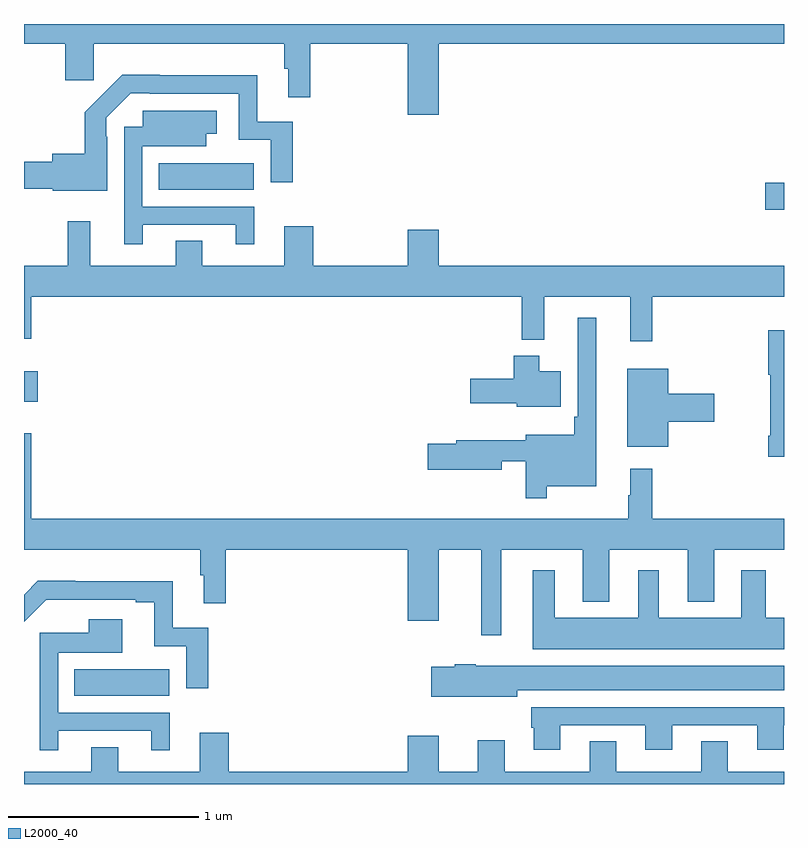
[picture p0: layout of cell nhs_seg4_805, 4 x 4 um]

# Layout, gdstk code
import gdstk
lib = gdstk.Library(unit=1e-6, precision=1e-09)
def R(c, l, rs):  # rectangles x0, y0, x1, y1
    for r in rs: c.add(gdstk.rectangle(r[:2], r[2:], *l))
def P(c, l, *ps):  # polygons
    for p in ps: c.add(gdstk.Polygon(p, *l))
L2000_40 = (2000, 40)

nhs_seg4_805 = lib.new_cell('nhs_seg4_805')
R(nhs_seg4_805, L2000_40, [(151.264,817.364,151.765,817.504), (151,818.912,151.072,819.073), (154.902,819.922,155,820.064), (151.708,820.028,152.209,820.168)])
P(nhs_seg4_805, L2000_40, [(153.184,820.796),(155,820.796),(155,820.9),(151,820.9),(151,820.796),(151.217,820.796),(151.217,820.605),(151.367,820.605),(151.367,820.796),(152.371,820.796),(152.371,820.664),(152.39,820.664),(152.39,820.515),(152.507,820.515),(152.507,820.796),(153.02,820.796),(153.02,820.422),(153.184,820.422)],
  [(151.437,820.307),(151.434,820.307),(151.434,820.407),(151.563,820.536),(151.663,820.536),(151.663,820.533),(152.13,820.533),(152.13,820.29),(152.298,820.29),(152.298,820.068),(152.414,820.068),(152.414,820.386),(152.227,820.386),(152.227,820.63),(151.715,820.63),(151.715,820.633),(151.516,820.633),(151.319,820.435),(151.319,820.216),(151.148,820.216),(151.148,820.175),(151,820.175),(151,820.033),(151.152,820.033),(151.152,820.022),(151.437,820.022)],
  [(151.624,819.843),(152.114,819.843),(152.114,819.741),(152.212,819.741),(152.212,819.939),(151.623,819.939),(151.623,820.256),(151.96,820.256),(151.96,820.322),(152.014,820.322),(152.014,820.444),(151.626,820.444),(151.626,820.359),(151.527,820.359),(151.527,819.741),(151.624,819.741)],
  [(154.307,819.464),(155,819.464),(155,819.628),(153.184,819.628),(153.184,819.817),(153.02,819.817),(153.02,819.628),(152.522,819.628),(152.522,819.835),(152.369,819.835),(152.369,819.628),(151.939,819.628),(151.939,819.758),(151.799,819.758),(151.799,819.628),(151.349,819.628),(151.349,819.862),(151.231,819.862),(151.231,819.628),(151,819.628),(151,819.243),(151.039,819.243),(151.039,819.464),(153.619,819.464),(153.619,819.239),(153.737,819.239),(153.737,819.464),(154.19,819.464),(154.19,819.231),(154.307,819.231)],
  [(153.751,818.468),(154.012,818.468),(154.012,819.355),(153.915,819.355),(153.915,818.833),(153.895,818.833),(153.895,818.737),(153.641,818.737),(153.641,818.708),(153.275,818.708),(153.275,818.69),(153.126,818.69),(153.126,818.555),(153.514,818.555),(153.514,818.598),(153.642,818.598),(153.642,818.403),(153.751,818.403)],
  [(155,819.289),(154.916,819.289),(154.916,819.055),(154.928,819.055),(154.928,818.734),(154.916,818.734),(154.916,818.622),(155,818.622)],
  [(153.826,819.073),(153.712,819.073),(153.712,819.154),(153.578,819.154),(153.578,819.033),(153.348,819.033),(153.348,818.903),(153.594,818.903),(153.594,818.885),(153.826,818.885)],
  [(154.39,818.807),(154.633,818.807),(154.633,818.954),(154.39,818.954),(154.39,819.085),(154.175,819.085),(154.175,818.675),(154.39,818.675)],
  [(153.511,818.132),(153.941,818.132),(153.941,817.859),(154.081,817.859),(154.081,818.132),(154.493,818.132),(154.493,817.859),(154.633,817.859),(154.633,818.132),(155,818.132),(155,818.296),(154.307,818.296),(154.307,818.56),(154.19,818.56),(154.19,818.42),(154.179,818.42),(154.179,818.296),(151.039,818.296),(151.039,818.746),(151,818.746),(151,818.132),(151.927,818.132),(151.927,818),(151.946,818),(151.946,817.851),(152.063,817.851),(152.063,818.132),(153.02,818.132),(153.02,817.758),(153.184,817.758),(153.184,818.132),(153.407,818.132),(153.407,817.683),(153.511,817.683)],
  [(155,817.774),(154.903,817.774),(154.903,818.026),(154.775,818.026),(154.775,817.774),(154.342,817.774),(154.342,818.026),(154.232,818.026),(154.232,817.774),(153.793,817.774),(153.793,818.026),(153.677,818.026),(153.677,817.61),(155,817.61)],
  [(151.97,817.722),(151.783,817.722),(151.783,817.966),(151.271,817.966),(151.271,817.969),(151.072,817.969),(151,817.897),(151,817.753),(151.116,817.869),(151.589,817.869),(151.589,817.857),(151.685,817.857),(151.685,817.626),(151.854,817.626),(151.854,817.404),(151.97,817.404)],
  [(151.18,817.179),(151.67,817.179),(151.67,817.077),(151.768,817.077),(151.768,817.275),(151.179,817.275),(151.179,817.592),(151.516,817.592),(151.516,817.768),(151.34,817.768),(151.34,817.696),(151.083,817.696),(151.083,817.077),(151.18,817.077)],
  [(153.595,817.394),(155,817.394),(155,817.522),(153.378,817.522),(153.378,817.529),(153.267,817.529),(153.267,817.516),(153.144,817.516),(153.144,817.358),(153.595,817.358)],
  [(153.823,817.209),(154.271,817.209),(154.271,817.08),(154.411,817.08),(154.411,817.209),(154.859,817.209),(154.859,817.08),(154.999,817.08),(154.999,817.209),(155,817.209),(155,817.305),(153.671,817.305),(153.671,817.197),(153.683,817.197),(153.683,817.08),(153.823,817.08)],
  [(155,816.964),(154.705,816.964),(154.705,817.124),(154.565,817.124),(154.565,816.964),(154.117,816.964),(154.117,817.124),(153.977,817.124),(153.977,816.964),(153.529,816.964),(153.529,817.129),(153.389,817.129),(153.389,816.964),(153.184,816.964),(153.184,817.153),(153.02,817.153),(153.02,816.964),(152.078,816.964),(152.078,817.171),(151.925,817.171),(151.925,816.964),(151.495,816.964),(151.495,817.094),(151.355,817.094),(151.355,816.964),(151,816.964),(151,816.9),(155,816.9)])

lib.write_gds('nhs_seg4_805.gds')
